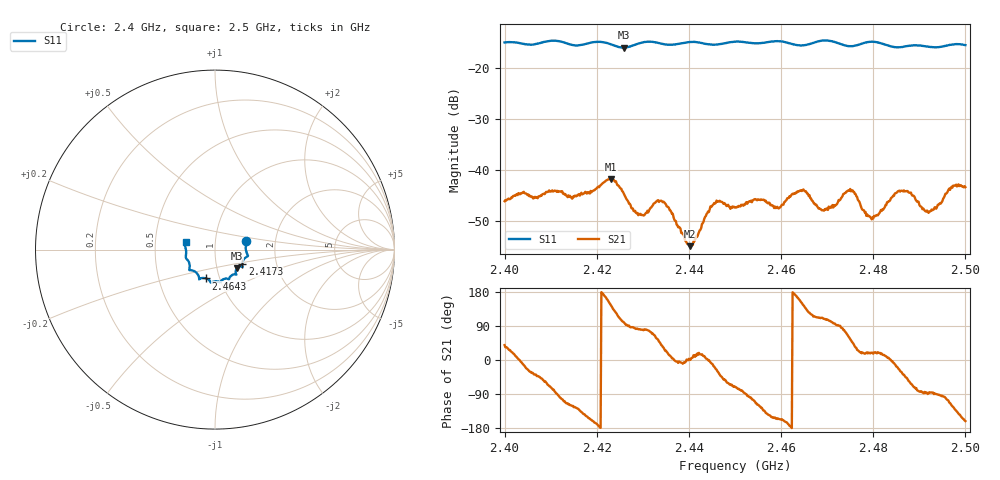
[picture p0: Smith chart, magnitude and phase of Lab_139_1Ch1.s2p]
# Hz S RI R
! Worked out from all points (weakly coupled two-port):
!   601 points, 2.4 GHz to 2.5 GHz, reference 50 ohm
!   highest |S21| = -41.69 dB at 2.423 GHz (marker M1); lowest = -54.8 dB at 2.4402 GHz (marker M2)
!   lowest |S11| = -15.9 dB at 2.4258 GHz (marker M3), VSWR 1.38, Z = 62.3 - j13.3 ohm
!   |S11| at or under -10 dB: start of sweep to end of sweep
!   S12 and S22 are empty: the file has one direction only
!   S11 on the Smith chart (normalised r, x): 2.4 GHz: 1.41, +0.14; 2.4173 GHz: 1.34, -0.23; 2.4643 GHz: 0.86, -0.28; 2.5 GHz: 0.72, +0.06
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2.4e9  0.1733 0.049  0.00386 0.00317  0 0  0 0
2.416667e9  0.1527 -0.0745  -0.00443 -0.0041  0 0  0 0
2.417333e9  0.1519 -0.0819  -0.00482 -0.0036  0 0  0 0
2.423e9  0.1454 -0.0939  -0.0068 0.00463  0 0  0 0
2.425833e9  0.1221 -0.1035  -0.00104 0.00588  0 0  0 0
2.4295e9  0.1166 -0.1345  0.000637 0.0037  0 0  0 0
2.433333e9  0.1127 -0.1378  0.00308 0.00408  0 0  0 0
2.440167e9  0.0788 -0.1638  0.00181 6.56e-05  0 0  0 0
2.4455e9  0.0516 -0.1629  0.00458 -0.00145  0 0  0 0
2.45e9  0.0288 -0.181  0.00139 -0.0041  0 0  0 0
2.454667e9  0.00467 -0.1763  -0.00212 -0.00468  0 0  0 0
2.459333e9  -0.0231 -0.1835  -0.00385 -0.00185  0 0  0 0
2.464333e9  -0.05 -0.1605  -0.00566 0.00296  0 0  0 0
2.466667e9  -0.076 -0.1591  -0.00249 0.00442  0 0  0 0
2.469667e9  -0.0884 -0.1661  -0.00119 0.00396  0 0  0 0
2.475333e9  -0.1094 -0.1238  0.00419 0.00477  0 0  0 0
2.4795e9  -0.1428 -0.1142  0.00324 0.00114  0 0  0 0
2.483333e9  -0.1407 -0.0897  0.00497 0.00051  0 0  0 0
2.487167e9  -0.1559 -0.0547  0.00431 -0.00452  0 0  0 0
2.492e9  -0.161 -0.0256  0.000123 -0.00384  0 0  0 0
2.497333e9  -0.17 0.0288  -0.00395 -0.00589  0 0  0 0
2.5e9  -0.1637 0.0427  -0.00649 -0.00221  0 0  0 0
